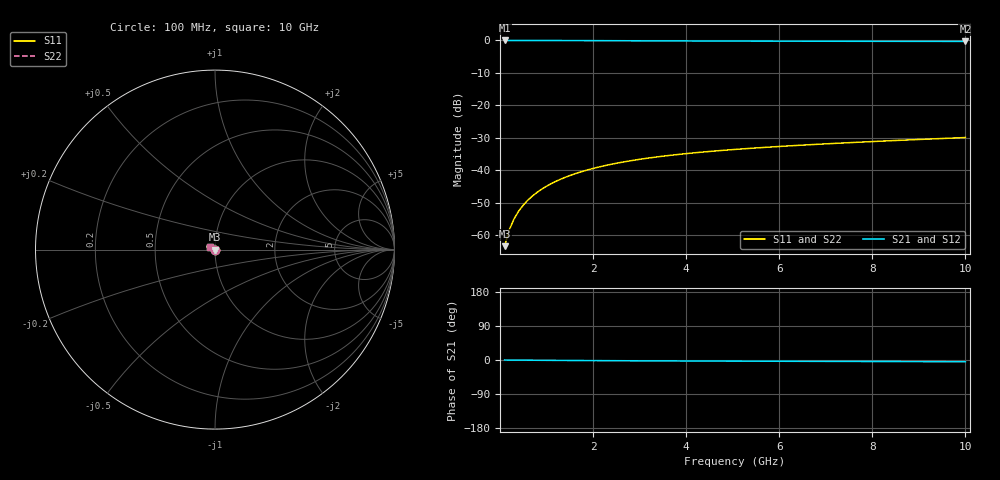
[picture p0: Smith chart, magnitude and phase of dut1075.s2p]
! Touchstone file exported from HFSS 2024.1.0
!  File:  C:/UserFiles/LocalFiles/RDL_TSV_Batchsim/temp_TSV1_1075_1780064898.aedt
!  Generated:  10:37:59 PM May 29, 2026
!  Design:  TSV1
!  Project:  temp_TSV1_1075_1780064898
!  Setup:  Setup1
!  Solution:  Sweep
! Variables:
!  dtsv = 5.82um
!  hbump = 3um
!  htsv = 68.49um
!  lrdl = 252.1521522um
!  p = 40
!  p1 = 43.17um
!  t = 500um
!  trdl = 3um
!  wrdl = 24.89489489um
# GHz S MA R 50.000000
! Terminal data exported
! Port[1] = TSV22_T1
! Port[2] = TSV22_T2
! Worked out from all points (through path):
!   100 points, 100 MHz to 10 GHz, reference 50 ohm
!   highest |S21| = 0.00 dB at 100 MHz (marker M1); lowest = -0.3 dB at 10 GHz (marker M2)
!   lowest |S11| = -63.3 dB at 100 MHz (marker M3), VSWR 1.00, Z = 50 - j0.0583 ohm
!   |S11| at or under -10 dB: start of sweep to end of sweep
!   |S22| runs from -63.3 to -29.9 dB; largest |S21 - S12| = 4.2e-15
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0.1  0.0006847 -58.4  0.9996 -0.1  0.9996 -0.1  0.0006847 -58.4
! Gamma 0 0 0 0
! Port Impedance 50 0 50 0
0.2  0.00122 -75.4  0.9995 -0.2  0.9995 -0.2  0.00122 -75.4
0.3  0.001785 -83.3  0.9994 -0.3  0.9994 -0.3  0.001785 -83.3
0.4  0.002355 -88.3  0.9993 -0.4  0.9993 -0.4  0.002355 -88.3
0.5  0.002926 -92.1  0.9991 -0.4  0.9991 -0.4  0.002926 -92.1
0.6  0.003494 -95.3  0.9989 -0.5  0.9989 -0.5  0.003494 -95.3
0.7  0.004059 -98.1  0.9986 -0.6  0.9986 -0.6  0.004059 -98.1
0.8  0.004618 -100.7  0.9983 -0.7  0.9983 -0.7  0.004618 -100.7
0.9  0.005172 -103.1  0.998 -0.8  0.998 -0.8  0.005172 -103.1
1.1  0.00626 -107.6  0.9973 -0.9  0.9973 -0.9  0.00626 -107.6
1.4  0.007833 -113.8  0.996 -1.2  0.996 -1.2  0.007833 -113.8
1.6  0.008839 -117.7  0.995 -1.3  0.995 -1.3  0.008839 -117.7
1.8  0.009807 -121.4  0.994 -1.4  0.994 -1.4  0.009807 -121.4
2.1  0.01119 -126.7  0.9924 -1.6  0.9924 -1.6  0.01119 -126.7
2.5  0.0129 -133.4  0.9902 -1.9  0.9902 -1.9  0.0129 -133.4
2.9  0.01447 -139.6  0.988 -2.1  0.988 -2.1  0.01447 -139.6
3.4  0.01624 -146.7  0.9853 -2.3  0.9853 -2.3  0.01624 -146.7
4.2  0.01874 -157.0  0.9814 -2.7  0.9814 -2.7  0.01874 -157.0
5.1  0.02119 -167.0  0.9777 -3.0  0.9777 -3.0  0.02119 -167.0
6.7  0.02499 178.4  0.9728 -3.5  0.9728 -3.5  0.02499 178.4
8.4  0.02869 166.1  0.9692 -4.1  0.9692 -4.1  0.02869 166.1
10  0.03208 156.8  0.9668 -4.6  0.9668 -4.6  0.03208 156.8
